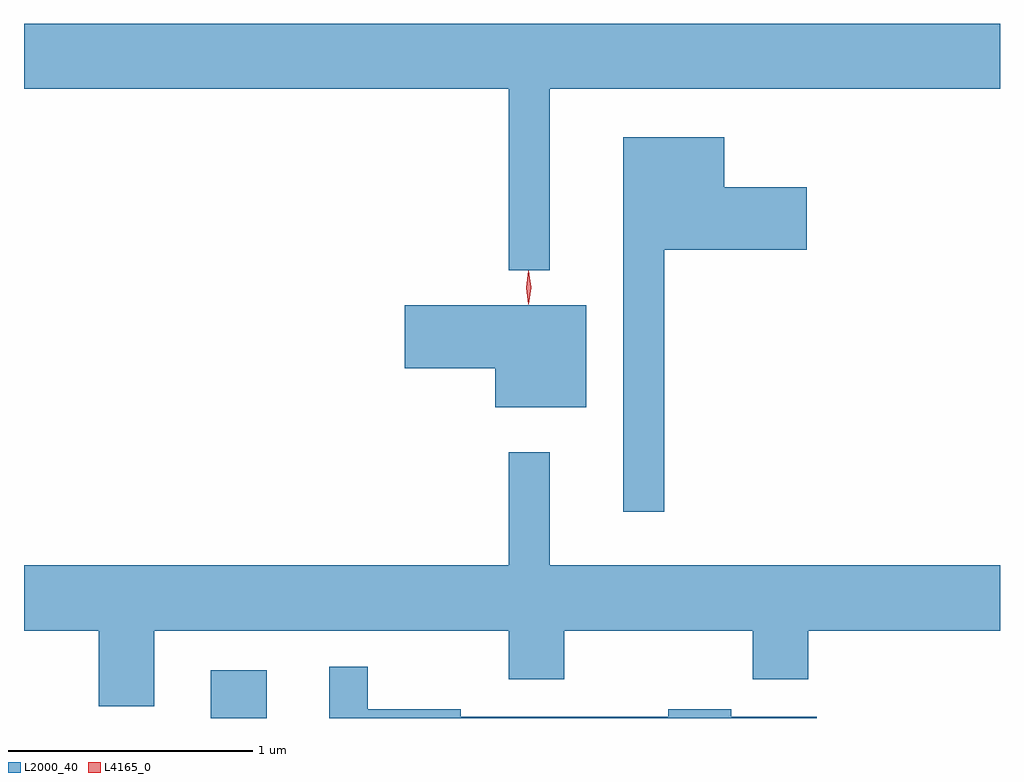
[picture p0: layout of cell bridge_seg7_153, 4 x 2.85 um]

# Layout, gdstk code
import gdstk
lib = gdstk.Library(unit=1e-6, precision=1e-09)
def R(c, l, rs):  # rectangles x0, y0, x1, y1
    for r in rs: c.add(gdstk.rectangle(r[:2], r[2:], *l))
def P(c, l, *ps):  # polygons
    for p in ps: c.add(gdstk.Polygon(p, *l))
L2000_40 = (2000, 40)
L4165_0 = (4165, 0)

bridge_seg7_153 = lib.new_cell('bridge_seg7_153')
R(bridge_seg7_153, L2000_40, [(1629.751,1702.856,1629.979,1703.054)])
P(bridge_seg7_153, L2000_40, [(1631.139,1705.436),(1632.985,1705.436),(1632.985,1705.704),(1628.985,1705.704),(1628.985,1705.436),(1630.971,1705.436),(1630.971,1704.693),(1631.139,1704.693)],
  [(1631.609,1704.776),(1632.194,1704.776),(1632.194,1705.034),(1631.854,1705.034),(1631.854,1705.239),(1631.441,1705.239),(1631.441,1703.703),(1631.609,1703.703)],
  [(1631.289,1704.549),(1630.546,1704.549),(1630.546,1704.291),(1630.916,1704.291),(1630.916,1704.131),(1631.289,1704.131)],
  [(1630.971,1703.948),(1630.971,1703.484),(1628.985,1703.484),(1628.985,1703.216),(1629.291,1703.216),(1629.291,1702.906),(1629.519,1702.906),(1629.519,1703.216),(1630.971,1703.216),(1630.971,1703.016),(1631.199,1703.016),(1631.199,1703.216),(1631.971,1703.216),(1631.971,1703.016),(1632.199,1703.016),(1632.199,1703.216),(1632.985,1703.216),(1632.985,1703.484),(1631.139,1703.484),(1631.139,1703.948)],
  [(1632.234,1702.864),(1631.884,1702.864),(1631.884,1702.894),(1631.626,1702.894),(1631.626,1702.864),(1630.774,1702.864),(1630.774,1702.894),(1630.394,1702.894),(1630.394,1703.068),(1630.236,1703.068),(1630.236,1702.856),(1632.234,1702.856)])
P(bridge_seg7_153, L4165_0, [(1631.052,1704.554),(1631.043,1704.622),(1631.052,1704.69),(1631.053,1704.69),(1631.053,1704.69),(1631.063,1704.622),(1631.053,1704.554),(1631.053,1704.554)],
  [(1631.052,1704.56),(1631.043,1704.624),(1631.052,1704.686),(1631.053,1704.687),(1631.053,1704.686),(1631.063,1704.624),(1631.053,1704.56),(1631.053,1704.56)])

lib.write_gds('bridge_seg7_153.gds')
